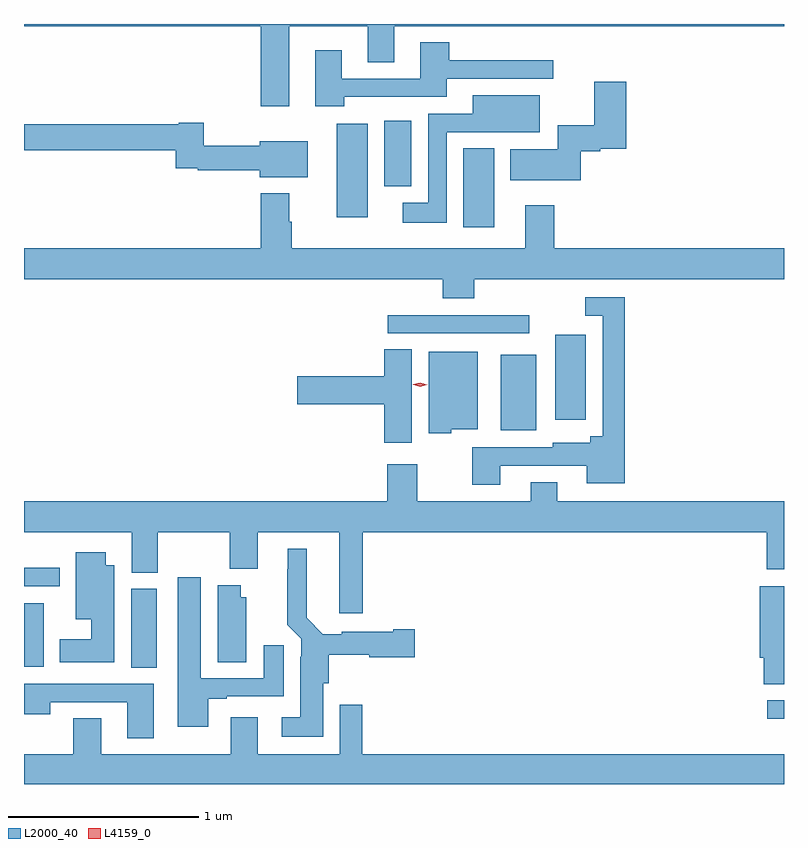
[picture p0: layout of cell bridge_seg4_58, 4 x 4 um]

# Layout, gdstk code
import gdstk
lib = gdstk.Library(unit=1e-6, precision=1e-09)
def R(c, l, rs):  # rectangles x0, y0, x1, y1
    for r in rs: c.add(gdstk.rectangle(r[:2], r[2:], *l))
def P(c, l, *ps):  # polygons
    for p in ps: c.add(gdstk.Polygon(p, *l))
L2000_40 = (2000, 40)
L4159_0 = (4159, 0)

bridge_seg4_58 = lib.new_cell('bridge_seg4_58')
R(bridge_seg4_58, L2000_40, [(737.907,787.848,737.994,787.944), (734.558,788.116,734.692,788.532), (733.994,788.12,734.098,788.455), (733.994,788.544,734.182,788.642), (736.502,789.365,736.69,789.763), (736.79,789.42,736.951,789.868), (735.909,789.876,736.654,789.972), (736.307,790.434,736.468,790.849), (735.641,790.488,735.802,790.978), (735.89,790.649,736.033,790.996)])
P(bridge_seg4_58, L2000_40, [(735.391,791.492),(735.803,791.492),(735.803,791.302),(735.943,791.302),(735.943,791.492),(737.994,791.492),(737.994,791.504),(733.994,791.504),(733.994,791.492),(735.239,791.492),(735.239,791.07),(735.391,791.07)],
  [(735.68,791.121),(736.219,791.121),(736.219,791.217),(736.78,791.217),(736.78,791.314),(736.232,791.314),(736.232,791.407),(736.079,791.407),(736.079,791.217),(735.667,791.217),(735.667,791.365),(735.527,791.365),(735.527,791.07),(735.68,791.07)],
  [(736.925,790.835),(737.028,790.835),(737.028,790.847),(737.165,790.847),(737.165,791.2),(736.994,791.2),(736.994,790.97),(736.802,790.97),(736.802,790.846),(736.553,790.846),(736.553,790.682),(736.925,790.682)],
  [(736.218,790.935),(736.464,790.935),(736.464,790.934),(736.708,790.934),(736.708,791.128),(736.355,791.128),(736.355,791.031),(736.122,791.031),(736.122,790.564),(735.987,790.564),(735.987,790.457),(736.218,790.457)],
  [(735.487,790.888),(735.236,790.888),(735.236,790.862),(734.94,790.862),(734.94,790.984),(734.808,790.984),(734.808,790.976),(733.994,790.976),(733.994,790.84),(734.792,790.84),(734.792,790.746),(734.908,790.746),(734.908,790.734),(735.236,790.734),(735.236,790.697),(735.487,790.697)],
  [(736.364,790.16),(737.994,790.16),(737.994,790.324),(736.784,790.324),(736.784,790.549),(736.631,790.549),(736.631,790.324),(735.404,790.324),(735.404,790.463),(735.391,790.463),(735.391,790.612),(735.239,790.612),(735.239,790.324),(733.994,790.324),(733.994,790.16),(736.199,790.16),(736.199,790.061),(736.364,790.061)],
  [(736.501,789.18),(736.955,789.18),(736.955,789.086),(737.156,789.086),(737.156,790.065),(736.947,790.065),(736.947,789.969),(737.04,789.969),(737.04,789.335),(736.974,789.335),(736.974,789.301),(736.776,789.301),(736.776,789.276),(736.354,789.276),(736.354,789.078),(736.501,789.078)],
  [(736.036,789.791),(735.89,789.791),(735.89,789.65),(735.432,789.65),(735.432,789.503),(735.89,789.503),(735.89,789.3),(736.036,789.3)],
  [(736.242,789.371),(736.381,789.371),(736.381,789.778),(736.124,789.778),(736.124,789.35),(736.242,789.35)],
  [(735.776,788.828),(737.903,788.828),(737.903,788.634),(737.994,788.634),(737.994,788.992),(736.801,788.992),(736.801,789.091),(736.661,789.091),(736.661,788.992),(736.065,788.992),(736.065,789.187),(735.905,789.187),(735.905,788.992),(733.994,788.992),(733.994,788.828),(734.561,788.828),(734.561,788.617),(734.697,788.617),(734.697,788.828),(735.076,788.828),(735.076,788.636),(735.223,788.636),(735.223,788.828),(735.653,788.828),(735.653,788.403),(735.776,788.403)],
  [(735.568,788.034),(735.599,788.034),(735.599,788.183),(735.81,788.183),(735.81,788.171),(736.051,788.171),(736.051,788.318),(735.938,788.318),(735.938,788.305),(735.666,788.305),(735.666,788.293),(735.567,788.293),(735.481,788.38),(735.481,788.743),(735.383,788.743),(735.383,788.633),(735.379,788.633),(735.379,788.342),(735.453,788.268),(735.453,788.174),(735.449,788.174),(735.449,787.855),(735.351,787.855),(735.351,787.754),(735.568,787.754)],
  [(734.47,788.656),(734.425,788.656),(734.425,788.725),(734.267,788.725),(734.267,788.372),(734.348,788.372),(734.348,788.266),(734.183,788.266),(734.183,788.144),(734.47,788.144)],
  [(734.965,787.953),(735.061,787.953),(735.061,787.965),(735.361,787.965),(735.361,788.233),(735.257,788.233),(735.257,788.061),(734.923,788.061),(734.923,788.593),(734.804,788.593),(734.804,787.806),(734.965,787.806)],
  [(735.163,788.487),(735.136,788.487),(735.136,788.551),(735.014,788.551),(735.014,788.146),(735.163,788.146)],
  [(737.994,788.545),(737.867,788.545),(737.867,788.169),(737.888,788.169),(737.888,788.029),(737.994,788.029)],
  [(734.677,788.031),(733.994,788.031),(733.994,787.872),(734.133,787.872),(734.133,787.935),(734.537,787.935),(734.537,787.746),(734.677,787.746)],
  [(737.994,787.66),(735.773,787.66),(735.773,787.921),(735.657,787.921),(735.657,787.66),(735.223,787.66),(735.223,787.855),(735.083,787.855),(735.083,787.66),(734.401,787.66),(734.401,787.85),(734.254,787.85),(734.254,787.66),(733.994,787.66),(733.994,787.504),(737.994,787.504)])
P(bridge_seg4_58, L4159_0, [(736.079,789.596),(736.042,789.606),(736.042,789.606),(736.042,789.607),(736.079,789.616),(736.117,789.606),(736.117,789.605),(736.117,789.605)])

lib.write_gds('bridge_seg4_58.gds')
